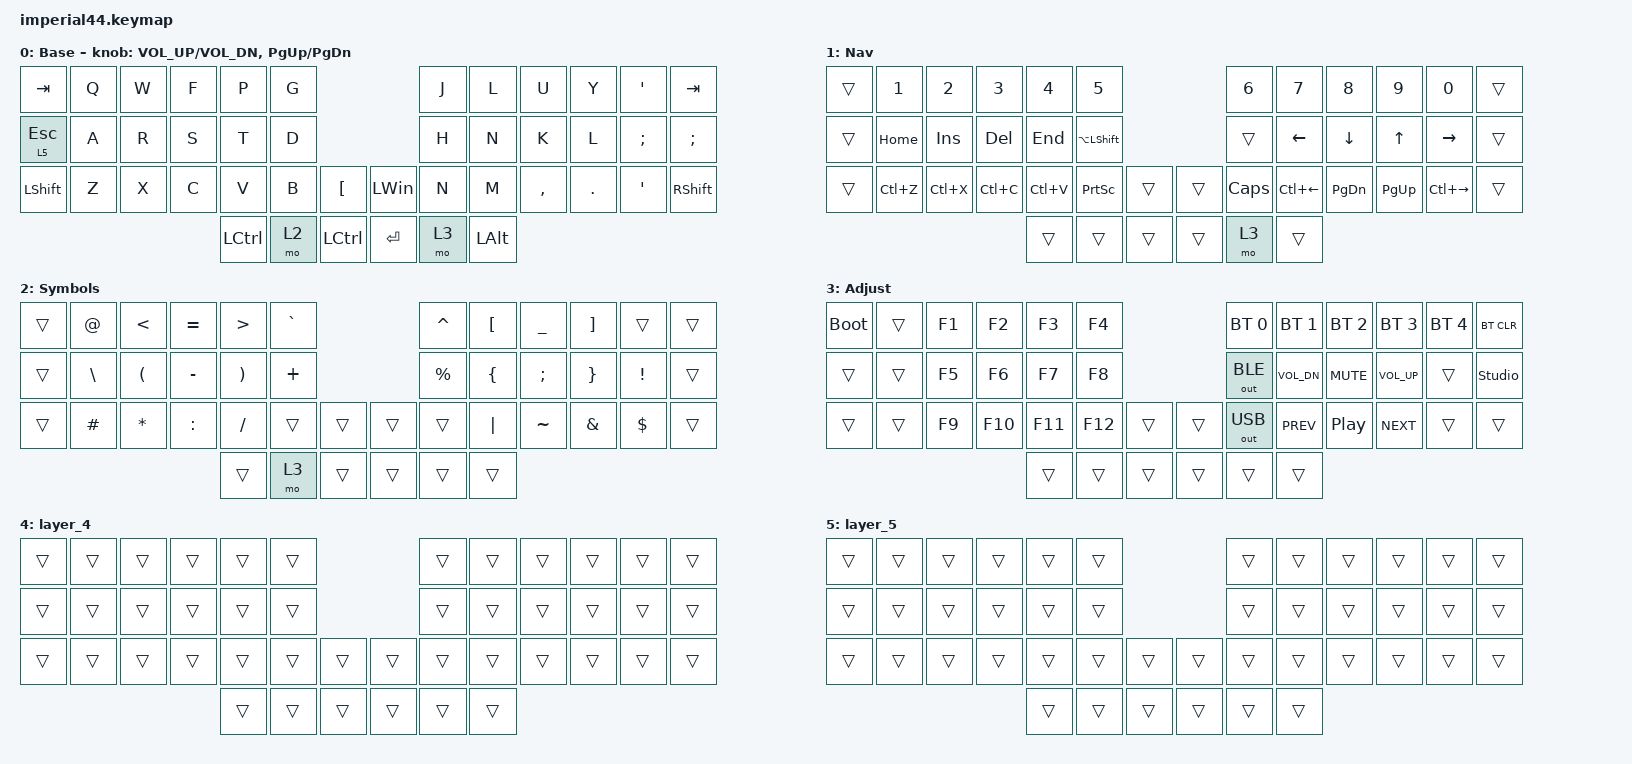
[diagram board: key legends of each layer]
#include "keys_ru.h"
#include <behaviors.dtsi>
#include <dt-bindings/zmk/bt.h>
#include <dt-bindings/zmk/keys.h>
#include <dt-bindings/zmk/outputs.h>

/ {
    keymap {
        compatible = "zmk,keymap";

        base {
            bindings = <
&kp TAB    &kp Q  &kp W  &kp F  &kp P      &kp G                          &kp J  &kp L     &kp U      &kp Y    &kp SQT   &kp TAB
&lt 5 ESC  &kp A  &kp R  &kp S  &kp T      &kp D                          &kp H  &kp N     &kp K      &kp L    &kp SEMI  &kp SEMI
&kp LSHFT  &kp Z  &kp X  &kp C  &kp V      &kp B  &kp LBKT     &kp LWIN   &kp N  &kp M     &kp COMMA  &kp DOT  &kp SQT   &kp RSHFT
                                &kp LCTRL  &mo 2  &kp LCTRL    &kp ENTER  &mo 3  &kp LALT
            >;

            display-name = "Base";
            sensor-bindings =
                <&inc_dec_kp C_VOL_UP C_VOL_DN>,
                <&inc_dec_kp PG_UP PG_DN>;
        };

        nav {
            bindings = <
&trans  &kp N1     &kp N2     &kp N3      &kp N4     &kp N5                             &kp N6        &kp N7        &kp N8     &kp N9     &kp N0         &trans
&trans  &kp HOME   &kp INS    &kp DELETE  &kp END    &kp LA(LSHFT)                      &trans        &kp LEFT      &kp DOWN   &kp UP     &kp RIGHT      &trans
&trans  &kp LC(Z)  &kp LC(X)  &kp LC(C)   &kp LC(V)  &kp PRINTSCREEN  &trans    &trans  &kp CAPSLOCK  &kp LC(LEFT)  &kp PG_DN  &kp PG_UP  &kp LC(RIGHT)  &trans
                                          &trans     &trans           &trans    &trans  &mo 3         &trans
            >;

            display-name = "Nav";
        };

        sym {
            bindings = <
&trans  &kp AT    &kp LT    &kp EQUAL  &kp GT    &kp GRAVE                    &kp CARET  &kp LBKT  &kp UNDER  &kp RBKT  &trans    &trans
&trans  &kp BSLH  &kp LPAR  &kp MINUS  &kp RPAR  &kp PLUS                     &kp PRCNT  &kp LBRC  &kp SEMI   &kp RBRC  &kp EXCL  &trans
&trans  &kp HASH  &kp STAR  &kp COLON  &kp FSLH  &trans     &trans    &trans  &trans     &kp PIPE  &kp TILDE  &kp AMPS  &kp DLLR  &trans
                                       &trans    &mo 3      &trans    &trans  &trans     &trans
            >;

            display-name = "Symbols";
        };

        adj {
            bindings = <
&bootloader  &trans  &kp F1  &kp F2   &kp F3   &kp F4                     &bt BT_SEL 0  &bt BT_SEL 1  &bt BT_SEL 2      &bt BT_SEL 3  &bt BT_SEL 4  &bt BT_CLR
&trans       &trans  &kp F5  &kp F6   &kp F7   &kp F8                     &out OUT_BLE  &kp C_VOL_DN  &kp C_MUTE        &kp C_VOL_UP  &trans        &studio_unlock
&trans       &trans  &kp F9  &kp F10  &kp F11  &kp F12  &trans    &trans  &out OUT_USB  &kp C_PREV    &kp C_PLAY_PAUSE  &kp C_NEXT    &trans        &trans
                                      &trans   &trans   &trans    &trans  &trans        &trans
            >;

            display-name = "Adjust";
        };

        layer_4 {
            bindings = <
&trans  &trans  &trans  &trans  &trans  &trans                    &trans  &trans  &trans  &trans  &trans  &trans
&trans  &trans  &trans  &trans  &trans  &trans                    &trans  &trans  &trans  &trans  &trans  &trans
&trans  &trans  &trans  &trans  &trans  &trans  &trans    &trans  &trans  &trans  &trans  &trans  &trans  &trans
                                &trans  &trans  &trans    &trans  &trans  &trans
            >;
        };

        layer_5 {
            bindings = <
&trans  &trans  &trans  &trans  &trans  &trans                    &trans  &trans  &trans  &trans  &trans  &trans
&trans  &trans  &trans  &trans  &trans  &trans                    &trans  &trans  &trans  &trans  &trans  &trans
&trans  &trans  &trans  &trans  &trans  &trans  &trans    &trans  &trans  &trans  &trans  &trans  &trans  &trans
                                &trans  &trans  &trans    &trans  &trans  &trans
            >;
        };
    };
};
